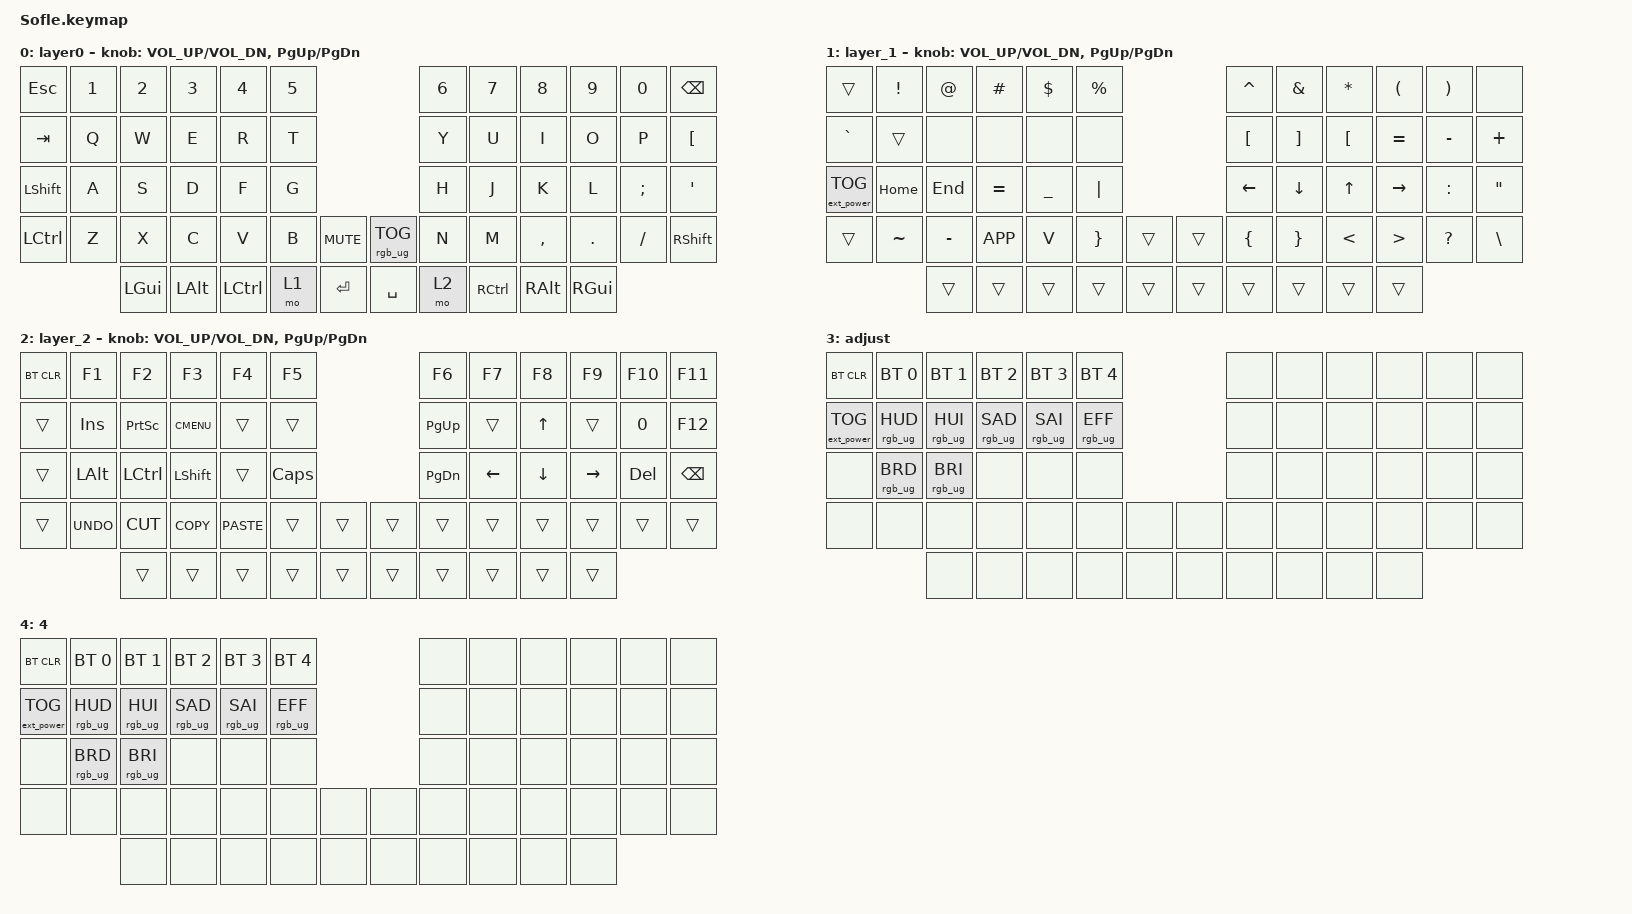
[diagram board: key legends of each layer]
/*
 * Copyright (c) 2020 The ZMK Contributors
 *
 * SPDX-License-Identifier: MIT
 */

#include <behaviors.dtsi>
#include <dt-bindings/zmk/bt.h>
#include <dt-bindings/zmk/ext_power.h>
#include <dt-bindings/zmk/keys.h>
#include <dt-bindings/zmk/rgb.h>

#define BASE 0
#define LOWER 1
#define RAISE 2
#define ADJUST 3

/ {
    // Activate ADJUST layer by pressing raise and lower

    conditional_layers {
        compatible = "zmk,conditional-layers";

        adjust_layer {
            if-layers = <1 2>;
            then-layer = <3>;
        };
    };

    keymap {
        compatible = "zmk,keymap";

        layer0 {
            // ------------------------------------------------------------------------------------------------------------
            // |   `   |  1  |  2  |  3   |  4   |  5   |                   |  6   |  7    |  8    |  9   |   0   |       |
            // |  ESC  |  Q  |  W  |  E   |  R   |  T   |                   |  Y   |  U    |  I    |  O   |   P   | BKSPC |
            // |  TAB  |  A  |  S  |  D   |  F   |  G   |                   |  H   |  J    |  K    |  L   |   ;   |   '   |
            // | SHIFT |  Z  |  X  |  C   |  V   |  B   |  MUTE  |  |       |  N   |  M    |  ,    |  .   |   /   | SHIFT |
            //               | GUI | ALT  | CTRL | LOWER|  ENTER |  | SPACE | RAISE| CTRL  | ALT   | GUI  |

            bindings = <
&kp ESCAPE        &kp N1  &kp N2    &kp N3    &kp N4     &kp N5                                 &kp N6  &kp N7     &kp N8     &kp N9    &kp N0    &kp BACKSPACE
&kp TAB           &kp Q   &kp W     &kp E     &kp R      &kp T                                  &kp Y   &kp U      &kp I      &kp O     &kp P     &kp LEFT_BRACKET
&kp LSHFT         &kp A   &kp S     &kp D     &kp F      &kp G                                  &kp H   &kp J      &kp K      &kp L     &kp SEMI  &kp SQT
&kp LEFT_CONTROL  &kp Z   &kp X     &kp C     &kp V      &kp B   &kp C_MUTE    &rgb_ug RGB_TOG  &kp N   &kp M      &kp COMMA  &kp DOT   &kp FSLH  &kp RSHFT
                          &kp LGUI  &kp LALT  &kp LCTRL  &mo 1   &kp RET       &kp SPACE        &mo 2   &kp RCTRL  &kp RALT   &kp RGUI
            >;

            sensor-bindings = <&inc_dec_kp C_VOL_UP C_VOL_DN &inc_dec_kp PG_UP PG_DN>;
        };

        layer_1 {
            // TODO: Some binds are waiting for shifted keycode support.
            // ------------------------------------------------------------------------------------------------------------
            // |       |  F1 |  F2 |  F3  |  F4  |  F5  |                   |  F6  |  F7   |  F8   |  F9  |  F10  |  F11  |
            // |   `   |  1  |  2  |  3   |  4   |  5   |                   |  6   |  7    |  8    |  9   |   0   |  F12  |
            // |       |  !  |  @  |  #   |  $   |  %   |                   |  ^   |  &    |  *    |  (   |   )   |   |   |
            // |       |  =  |  -  |  +   |  {   |  }   |        |  |       |  [   |  ]    |  ;    |  :   |   \   |       |
            //               |     |      |      |      |        |  |       |      |       |       |      |

            bindings = <
&trans             &kp EXCLAMATION  &kp AT_SIGN  &kp HASH   &kp DOLLAR  &kp PERCENT                    &kp CARET         &kp AMPERSAND      &kp ASTERISK      &kp LEFT_PARENTHESIS  &kp RIGHT_PARENTHESIS  &none
&kp GRAVE          &trans           &none        &none      &none       &none                          &kp LEFT_BRACKET  &kp RIGHT_BRACKET  &kp LEFT_BRACKET  &kp EQUAL             &kp MINUS              &kp PLUS
&ext_power EP_TOG  &kp HOME         &kp END      &kp EQUAL  &kp UNDER   &kp PIPE                       &kp LEFT          &kp DOWN           &kp UP_ARROW      &kp RIGHT             &kp COLON              &kp DOUBLE_QUOTES
&trans             &kp TILDE        &kp MINUS    &kp K_APP  &kp V       &kp RBRC     &trans    &trans  &kp LEFT_BRACE    &kp RIGHT_BRACE    &kp LESS_THAN     &kp GREATER_THAN      &kp QUESTION           &kp BACKSLASH
                                    &trans       &trans     &trans      &trans       &trans    &trans  &trans            &trans             &trans            &trans
            >;

            sensor-bindings = <&inc_dec_kp C_VOL_UP C_VOL_DN &inc_dec_kp PG_UP PG_DN>;
        };

        layer_2 {
            // ------------------------------------------------------------------------------------------------------------
            // | BTCLR | BT1  | BT2  |  BT3  |  BT4  |  BT5 |                |      |      |       |      |       |       |
            // |       | INS  | PSCR | GUI   |       |      |                | PGUP |      |   ^   |      |       |       |
            // |       | ALT  | CTRL | SHIFT |       | CAPS |                | PGDN |   <- |   v   |  ->  |  DEL  | BKSPC |
            // |       | UNDO | CUT  | COPY  | PASTE |      |      |  |      |      |      |       |      |       |       |
            //                |      |       |       |      |      |  |      |      |      |       |      |

            bindings = <
&bt BT_CLR  &kp F1      &kp F2     &kp F3       &kp F4       &kp F5                      &kp F6     &kp F7    &kp F8    &kp F9     &kp F10  &kp F11
&trans      &kp INS     &kp PSCRN  &kp K_CMENU  &trans       &trans                      &kp PG_UP  &trans    &kp UP    &trans     &kp N0   &kp F12
&trans      &kp LALT    &kp LCTRL  &kp LSHFT    &trans       &kp CLCK                    &kp PG_DN  &kp LEFT  &kp DOWN  &kp RIGHT  &kp DEL  &kp BSPC
&trans      &kp K_UNDO  &kp K_CUT  &kp K_COPY   &kp K_PASTE  &trans    &trans    &trans  &trans     &trans    &trans    &trans     &trans   &trans
                        &trans     &trans       &trans       &trans    &trans    &trans  &trans     &trans    &trans    &trans
            >;

            sensor-bindings = <&inc_dec_kp C_VOL_UP C_VOL_DN &inc_dec_kp PG_UP PG_DN>;
        };

        layer_3 {
            // ----------------------------------------------------------------------------------------------------------------------------
            // | BTCLR  |  BT1    |  BT2    |   BT3   |   BT4   |   BT5   |                  |      |      |       |      |       |       |
            // | EXTPWR | RGB_HUD | RGB_HUI | RGB_SAD | RGB_SAI | RGB_EFF |                  |      |      |       |      |       |       |
            // |        | RGB_BRD | RGB_BRI |         |         |         |                  |      |      |       |      |       |       |
            // |        |         |         |         |         |         | RGB_TOG | |      |      |      |       |      |       |       |
            //                    |         |         |         |         |         | |      |      |      |       |      |

            display-name = "adjust";
            bindings = <
&bt BT_CLR         &bt BT_SEL 0     &bt BT_SEL 1     &bt BT_SEL 2     &bt BT_SEL 3     &bt BT_SEL 4                     &none  &none  &none  &none  &none  &none
&ext_power EP_TOG  &rgb_ug RGB_HUD  &rgb_ug RGB_HUI  &rgb_ug RGB_SAD  &rgb_ug RGB_SAI  &rgb_ug RGB_EFF                  &none  &none  &none  &none  &none  &none
&none              &rgb_ug RGB_BRD  &rgb_ug RGB_BRI  &none            &none            &none                            &none  &none  &none  &none  &none  &none
&none              &none            &none            &none            &none            &none            &none    &none  &none  &none  &none  &none  &none  &none
                                    &none            &none            &none            &none            &none    &none  &none  &none  &none  &none
            >;
        };

        layer_4 {
            display-name = "4";
            bindings = <
&bt BT_CLR         &bt BT_SEL 0     &bt BT_SEL 1     &bt BT_SEL 2     &bt BT_SEL 3     &bt BT_SEL 4                     &none  &none  &none  &none  &none  &none
&ext_power EP_TOG  &rgb_ug RGB_HUD  &rgb_ug RGB_HUI  &rgb_ug RGB_SAD  &rgb_ug RGB_SAI  &rgb_ug RGB_EFF                  &none  &none  &none  &none  &none  &none
&none              &rgb_ug RGB_BRD  &rgb_ug RGB_BRI  &none            &none            &none                            &none  &none  &none  &none  &none  &none
&none              &none            &none            &none            &none            &none            &none    &none  &none  &none  &none  &none  &none  &none
                                    &none            &none            &none            &none            &none    &none  &none  &none  &none  &none
            >;
        };

        extra1 { status = "reserved"; };

        extra2 { status = "reserved"; };

        extra3 { status = "reserved"; };

        extra4 { status = "reserved"; };
    };
};
